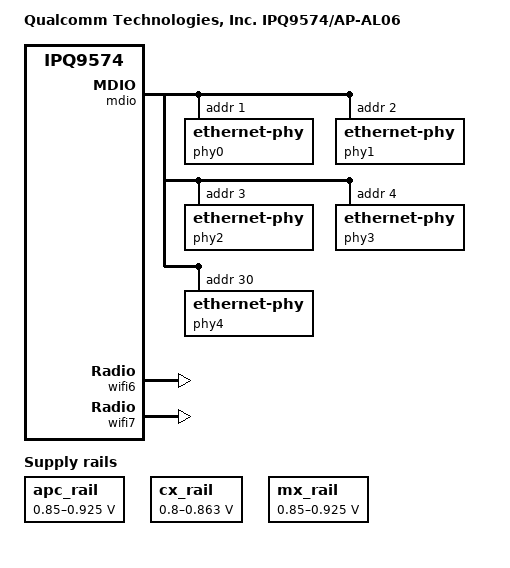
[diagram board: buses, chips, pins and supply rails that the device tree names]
// SPDX-License-Identifier: (GPL-2.0+ OR BSD-3-Clause)
/*
 * IPQ9574 AL06 board device tree source
 *
 * Copyright (c) 2020-2021 The Linux Foundation. All rights reserved.
 * Copyright (c) 2021-2023 Qualcomm Innovation Center, Inc. All rights reserved.
 */

/dts-v1/;

#include "ipq9574-al02-c6.dts"

/ {
	#address-cells = <0x2>;
	#size-cells = <0x2>;
	model = "Qualcomm Technologies, Inc. IPQ9574/AP-AL06";
	compatible = "qcom,ipq9574-ap-al06", "qcom,ipq9574-al06", "qcom,ipq9574";
	interrupt-parent = <&intc>;

	soc {
		pinctrl@1000000 {
			sfp_pins: sfp_pinmux {
				sfp_rx {
					pins = "gpio46";
					function = "rx1";
					bias-disable;
				};
			};
		};

		dp1 {
			reg = <0x3a500000 0x4000>;
			qcom,mactype = <1>;
			qcom,phy-mdio-addr = <1>;
		};

		dp2 {
			reg = <0x3a504000 0x4000>;
			qcom,mactype = <1>;
			qcom,phy-mdio-addr = <2>;
		};

		dp3 {
			reg = <0x3a508000 0x4000>;
			qcom,mactype = <1>;
			qcom,phy-mdio-addr = <3>;
		};

		dp4 {
			reg = <0x3a50c000 0x4000>;
			qcom,mactype = <1>;
			qcom,phy-mdio-addr = <4>;
		};

		dp5 {
			/delete-property/qcom,link-poll;
			qcom,phy-mdio-addr = <30>;
		};

		mdio:mdio@90000 {
			/*gpio60 for manhattan reset*/
			phy-reset-gpio = <&tlmm 60 0>;
			phyaddr_fixup = <0xC90F018>;
			uniphyaddr_fixup = <0xC90F014>;
			mdio_clk_fixup; /* MDIO clock sequence fix up flag */

			phy0: ethernet-phy@0 {
				reg = <1>;
				fixup;
			};
			phy1: ethernet-phy@1 {
				reg = <2>;
				fixup;
			};
			phy2: ethernet-phy@2 {
				reg = <3>;
				fixup;
			};
			phy3: ethernet-phy@3 {
				reg = <4>;
				fixup;
			};
			phy4: ethernet-phy@4 {
				reg = <30>;
				/delete-property/ compatible;
			};
		};

		ess-instance {
			num_devices = <0x1>;
			ess-switch@3a000000 {
				pinctrl-0 = <&sfp_pins>;
				pinctrl-names = "default";
				switch_mac_mode = <0x15>; /* mac mode for uniphy instance0*/
				switch_mac_mode1 = <0xe>; /* mac mode for uniphy instance1*/
				qcom,port_phyinfo {
					port@0 {
						phy_address = <1>;
					};
					port@1 {
						phy_address = <2>;
					};
					port@2 {
						phy_address = <3>;
					};
					port@3 {
						phy_address = <4>;
					};
					port@4 {
						port_id = <5>;
						phy_address = <30>;
						media-type = "sfp"; /* fiber mode */
					};
				};

				led_source@0 {
					source = <0>;
					mode = "normal";
					speed = "all";
					blink_en = "enable";
					active = "high";
				};
				led_source@3 {
					source = <3>;
					mode = "normal";
					speed = "all";
					blink_en = "enable";
					active = "high";
				};
				led_source@6 {
					source = <6>;
					mode = "normal";
					speed = "all";
					blink_en = "enable";
					active = "high";
				};
				led_source@9 {
					source = <9>;
					mode = "normal";
					speed = "all";
					blink_en = "enable";
					active = "high";
				};
			};
		};

		nss-macsec0 {
			compatible = "qcom,nss-macsec";
			phy_addr = <0x1>;
			mdiobus = <&mdio>;
		};
		nss-macsec1 {
			compatible = "qcom,nss-macsec";
			phy_addr = <0x2>;
			mdiobus = <&mdio>;
		};
		nss-macsec2 {
			compatible = "qcom,nss-macsec";
			phy_addr = <0x3>;
			mdiobus = <&mdio>;
		};
		nss-macsec3 {
			compatible = "qcom,nss-macsec";
			phy_addr = <0x4>;
			mdiobus = <&mdio>;
		};

		nss0: nss@40000000 {
			npu-supply = <&dummy_reg>;
			mx-supply = <&dummy_reg>;
		};

		rpm-glink {
			status = "disabled";
		};

		apc_rail: apc-gpio-regulator {
			compatible = "regulator-gpio";
			regulator-name = "vdd-apc";
			regulator-type = "voltage";
			regulator-boot-on;
			regulator-always-on;
			regulator-min-microvolt = <850000>;
			regulator-max-microvolt = <925000>;
			regulator-ramp-delay = <250>; /* 20ms */
			gpios = <&tlmm 57 GPIO_ACTIVE_HIGH>;
			gpios-states = <0x1>;
			states = <850000 0>, <925000 1>;
		};

		cx_rail: cx-gpio-regulator {
			compatible = "regulator-gpio";
			regulator-name = "vdd-cx";
			regulator-type = "voltage";
			regulator-boot-on;
			regulator-always-on;
			regulator-min-microvolt = <800000>;
			regulator-max-microvolt = <863000>;
			regulator-ramp-delay = <250>; /* 20ms */
			gpios = <&tlmm 47 GPIO_ACTIVE_HIGH>;
			gpios-states = <0x1>;
			states = <800000 0>, <863000 1>;
		};

		mx_rail: mx-gpio-regulator {
			compatible = "regulator-gpio";
			regulator-name = "vdd-mx";
			regulator-type = "voltage";
			regulator-boot-on;
			regulator-always-on;
			regulator-min-microvolt = <850000>;
			regulator-max-microvolt = <925000>;
			regulator-ramp-delay = <250>; /* 20ms */
			gpios = <&tlmm 45 GPIO_ACTIVE_HIGH>;
			gpios-states = <0x1>;
			states = <850000 0>, <925000 1>;
		};

		qcom,gpio-regulator {
			compatible = "qcom,ipq9574-gpio-regulator";
			reg = <0xa4000 0x1000>;
			reg-names = "fuse_base";
			apc-supply = <&apc_rail>;
			cx-supply = <&cx_rail>;
			mx-supply = <&mx_rail>;
			/* AL01 RDP's scaled voltage can only support upto CPU Freq
			 * 1.8 GHz. But SKUs like IPQ9574/IPQ9570 supports 2.2GHz of
			 * CPU freq. So, if we do scaling on AL01 + IPQ9574/IPQ9570,
			 * then voltage becomes insufficient when CPU operates at 2.2GHz.
			 * Below quirk disables the voltage scaling if AL01 has
			 * IPQ9574/IPQ9570
			 */
			skip-voltage-scaling-turboL1-sku-quirk;
		};
	};
};

&CPU0 {
	cpu0-supply = <&dummy_reg_cpu>;
};

&CPU1 {
	cpu-supply = <&dummy_reg_cpu>;
};

&CPU2 {
	cpu-supply = <&dummy_reg_cpu>;
};

&CPU3 {
	cpu-supply = <&dummy_reg_cpu>;
};

&cpus {
	cpu_opp_table: cpu_opp_table {
		/delete-node/ opp-0;
		opp-936000000 {
		      opp-microvolt = <1075000>;
		};
		opp-1104000000 {
		       opp-microvolt = <1075000>;
		};
		opp-1200000000 {
		       opp-microvolt = <1075000>;
		};
		opp-1416000000 {
		       opp-microvolt = <1075000>;
		};
		opp-1488000000 {
		       opp-microvolt = <1075000>;
		};
		opp-1608000000 {
		       opp-microvolt = <1075000>;
		};
		opp-1800000000 {
		       opp-microvolt = <1075000>;
		};
		opp-2208000000 {
			opp-microvolt = <1075000>;
		};
	};
};

&apc_apm {
	status = "disabled";
};

&apc_cpr {
	status = "disabled";
};

&npu_cpr {
	status = "disabled";
};

&wifi6 {
	board_id = <0x1e>;
};

&wifi7 {
	board_id = <0x15>;
};
